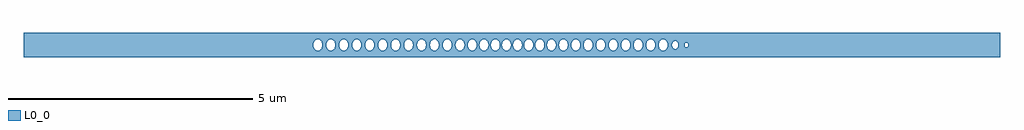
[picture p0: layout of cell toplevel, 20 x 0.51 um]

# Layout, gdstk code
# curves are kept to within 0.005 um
import gdstk
lib = gdstk.Library(unit=1e-6, precision=1e-09)
def P(c, l, *ps):  # polygons
    for p in ps: c.add(gdstk.Polygon(p, *l))
L0_0 = (0, 0)

toplevel = lib.new_cell('toplevel')
P(toplevel, L0_0, [(-3.493,-0.253),(-3.493,-0.104),(-3.526,-0.064),(-3.541,-0.007),(-3.532,0.051),(-3.516,0.082),(-3.493,0.104),(-3.493,0.253),(-10,0.253),(-10,-0.007),(-4.072,-0.007),(-4.068,0.037),(-4.047,0.082),(-4.013,0.111),(-3.985,0.119),(-3.944,0.111),(-3.919,0.092),(-3.894,0.051),(-3.885,0),(-3.807,0),(-3.798,0.051),(-3.781,0.082),(-3.748,0.111),(-3.719,0.119),(-3.679,0.111),(-3.649,0.087),(-3.631,0.057),(-3.62,0.015),(-3.621,-0.022),(-3.637,-0.07),(-3.663,-0.101),(-3.707,-0.119),(-3.748,-0.111),(-3.773,-0.092),(-3.798,-0.051),(-3.807,0),(-3.885,0),(-3.894,-0.051),(-3.911,-0.082),(-3.944,-0.111),(-3.973,-0.119),(-4.013,-0.111),(-4.043,-0.087),(-4.066,-0.044),(-4.072,-0.007),(-10,-0.007),(-10,-0.253)],
  [(-3.009,0.015),(-2.985,0.082),(-2.951,0.111),(-2.899,0.117),(-2.852,0.087),(-2.852,0.253),(-3.493,0.253),(-3.493,0.104),(-3.442,0.119),(-3.397,0.101),(-3.363,0.051),(-3.355,-0.015),(-3.275,-0.015),(-3.273,0.03),(-3.258,0.07),(-3.232,0.101),(-3.188,0.119),(-3.148,0.111),(-3.122,0.092),(-3.097,0.051),(-3.089,0.015),(-3.091,-0.03),(-3.106,-0.07),(-3.132,-0.101),(-3.164,-0.117),(-3.199,-0.117),(-3.242,-0.092),(-3.267,-0.051),(-3.275,-0.015),(-3.355,-0.015),(-3.379,-0.082),(-3.413,-0.111),(-3.453,-0.119),(-3.493,-0.104),(-3.493,-0.253),(-2.852,-0.253),(-2.852,-0.087),(-2.882,-0.111),(-2.911,-0.119),(-2.934,-0.117),(-2.967,-0.101),(-3.001,-0.051)],
  [(-2.212,0.015),(-2.209,0.253),(-2.852,0.253),(-2.852,0.087),(-2.826,0.03),(-2.824,-0.015),(-2.744,-0.015),(-2.74,0.037),(-2.723,0.076),(-2.691,0.108),(-2.657,0.119),(-2.616,0.111),(-2.583,0.082),(-2.56,0.03),(-2.558,-0.007),(-2.479,-0.007),(-2.47,0.051),(-2.453,0.082),(-2.42,0.111),(-2.391,0.119),(-2.351,0.111),(-2.321,0.087),(-2.298,0.044),(-2.292,0.007),(-2.296,-0.037),(-2.317,-0.082),(-2.345,-0.108),(-2.379,-0.119),(-2.42,-0.111),(-2.445,-0.092),(-2.47,-0.051),(-2.479,-0.007),(-2.558,-0.007),(-2.566,-0.051),(-2.583,-0.082),(-2.616,-0.111),(-2.645,-0.119),(-2.685,-0.111),(-2.715,-0.087),(-2.733,-0.057),(-2.744,-0.015),(-2.824,-0.015),(-2.837,-0.064),(-2.852,-0.087),(-2.852,-0.253),(-2.209,-0.253)],
  [(-2.207,0.044),(-2.188,0.082),(-2.16,0.108),(-2.126,0.119),(-2.102,0.117),(-2.07,0.101),(-2.044,0.07),(-2.026,0),(-1.948,0),(-1.939,0.051),(-1.914,0.092),(-1.889,0.111),(-1.848,0.119),(-1.814,0.108),(-1.782,0.076),(-1.765,0.037),(-1.761,-0.015),(-1.772,-0.057),(-1.79,-0.087),(-1.814,-0.108),(-1.848,-0.119),(-1.889,-0.111),(-1.914,-0.092),(-1.939,-0.051),(-1.948,0),(-2.026,0),(-2.035,-0.051),(-2.052,-0.082),(-2.085,-0.111),(-2.114,-0.119),(-2.137,-0.117),(-2.17,-0.101),(-2.192,-0.076),(-2.209,-0.037),(-2.209,-0.253),(-1.612,-0.253),(-1.612,-0.115),(-1.639,-0.101),(-1.661,-0.076),(-1.676,-0.044),(-1.682,-0.007),(-1.668,0.064),(-1.639,0.101),(-1.612,0.115),(-1.612,0.253),(-2.209,0.253)],
  [(-1.594,0.119),(-1.554,0.111),(-1.52,0.082),(-1.498,0.03),(-1.495,-0.007),(-1.418,-0.007),(-1.409,0.051),(-1.384,0.092),(-1.342,0.117),(-1.301,0.115),(-1.274,0.101),(-1.252,0.076),(-1.234,0.03),(-1.231,-0.007),(-1.24,-0.051),(-1.256,-0.082),(-1.29,-0.111),(-1.319,-0.119),(-1.359,-0.111),(-1.393,-0.082),(-1.409,-0.051),(-1.418,-0.007),(-1.495,-0.007),(-1.504,-0.051),(-1.529,-0.092),(-1.571,-0.117),(-1.612,-0.115),(-1.612,-0.253),(-1.001,-0.253),(-1.001,-0.087),(-1.048,-0.117),(-1.1,-0.111),(-1.138,-0.076),(-1.159,-0.007),(-1.144,0.064),(-1.125,0.092),(-1.1,0.111),(-1.048,0.117),(-1.001,0.087),(-1.001,0.253),(-1.612,0.253),(-1.612,0.115)],
  [(-0.975,-0.03),(-1.001,-0.087),(-1.001,-0.253),(-0.428,-0.253),(-0.428,-0.044),(-0.434,-0.015),(-0.428,0.253),(-1.001,0.253),(-1.001,0.087),(-0.975,0.03),(-0.973,-0.015),(-0.908,-0.015),(-0.904,0.037),(-0.887,0.076),(-0.855,0.108),(-0.821,0.119),(-0.78,0.111),(-0.747,0.082),(-0.724,0.03),(-0.722,-0.007),(-0.667,-0.007),(-0.661,0.044),(-0.638,0.087),(-0.603,0.113),(-0.556,0.117),(-0.534,0.108),(-0.506,0.082),(-0.489,0.051),(-0.48,0.007),(-0.495,-0.064),(-0.514,-0.092),(-0.539,-0.111),(-0.58,-0.119),(-0.624,-0.101),(-0.653,-0.064),(-0.667,-0.007),(-0.722,-0.007),(-0.73,-0.051),(-0.747,-0.082),(-0.78,-0.111),(-0.809,-0.119),(-0.849,-0.111),(-0.879,-0.087),(-0.897,-0.057),(-0.908,-0.015),(-0.973,-0.015)],
  [(-0.423,0.057),(-0.405,0.087),(-0.381,0.108),(-0.347,0.119),(-0.323,0.117),(-0.291,0.101),(-0.265,0.07),(-0.247,0),(-0.207,0),(-0.198,0.051),(-0.173,0.092),(-0.148,0.111),(-0.101,0.118),(-0.073,0.108),(-0.041,0.076),(-0.024,0.037),(-0.02,-0.015),(-0.031,-0.057),(-0.049,-0.087),(-0.073,-0.108),(-0.107,-0.119),(-0.148,-0.111),(-0.173,-0.092),(-0.198,-0.051),(-0.207,0),(-0.247,0),(-0.265,-0.07),(-0.291,-0.101),(-0.323,-0.117),(-0.347,-0.119),(-0.381,-0.108),(-0.409,-0.082),(-0.428,-0.044),(-0.428,-0.253),(0.131,-0.253),(0.131,-0.117),(0.096,-0.117),(0.063,-0.101),(0.034,-0.064),(0.02,-0.015),(0.024,0.037),(0.049,0.087),(0.084,0.113),(0.131,0.117),(0.131,0.253),(-0.428,0.253),(-0.428,0.044)],
  [(0.131,0.253),(0.131,0.117),(0.163,0.101),(0.189,0.07),(0.204,0.03),(0.206,-0.007),(0.247,-0.007),(0.25,0.03),(0.272,0.082),(0.306,0.111),(0.335,0.119),(0.375,0.111),(0.409,0.082),(0.425,0.051),(0.434,0.007),(0.431,-0.03),(0.409,-0.082),(0.375,-0.111),(0.346,-0.119),(0.306,-0.111),(0.272,-0.082),(0.256,-0.051),(0.247,-0.007),(0.206,-0.007),(0.198,-0.051),(0.181,-0.082),(0.163,-0.101),(0.131,-0.117),(0.131,-0.253),(0.664,-0.253),(0.664,-0.022),(0.651,-0.064),(0.622,-0.101),(0.589,-0.117),(0.566,-0.119),(0.537,-0.111),(0.504,-0.082),(0.487,-0.051),(0.478,-0.007),(0.487,0.051),(0.504,0.082),(0.537,0.111),(0.566,0.119),(0.589,0.117),(0.622,0.101),(0.651,0.064),(0.664,0.022),(0.664,0.253)],
  [(0.664,-0.253),(1.246,-0.253),(1.246,-0.092),(1.221,-0.051),(1.212,-0.007),(1.221,0.051),(1.246,0.092),(1.246,0.253),(0.664,0.253),(0.665,-0.007),(0.716,-0.007),(0.719,0.03),(0.741,0.082),(0.775,0.111),(0.804,0.119),(0.844,0.111),(0.878,0.082),(0.9,0.03),(0.903,-0.007),(0.961,-0.007),(0.965,0.037),(0.986,0.082),(1.014,0.108),(1.048,0.119),(1.089,0.111),(1.114,0.092),(1.139,0.051),(1.148,0.007),(1.139,-0.051),(1.122,-0.082),(1.089,-0.111),(1.06,-0.119),(1.02,-0.111),(0.99,-0.087),(0.967,-0.044),(0.961,-0.007),(0.903,-0.007),(0.894,-0.051),(0.878,-0.082),(0.844,-0.111),(0.815,-0.119),(0.775,-0.111),(0.745,-0.087),(0.725,-0.051),(0.716,-0.007),(0.665,-0.007)],
  [(1.255,0.101),(1.3,0.119),(1.34,0.111),(1.378,0.076),(1.396,0.03),(1.399,-0.007),(1.467,-0.007),(1.476,0.051),(1.501,0.092),(1.543,0.117),(1.578,0.117),(1.611,0.101),(1.633,0.076),(1.65,0.037),(1.654,-0.007),(1.648,-0.044),(1.629,-0.082),(1.601,-0.108),(1.578,-0.117),(1.543,-0.117),(1.501,-0.092),(1.476,-0.051),(1.467,-0.007),(1.399,-0.007),(1.378,-0.076),(1.34,-0.111),(1.288,-0.117),(1.246,-0.092),(1.246,-0.253),(1.867,-0.253),(1.867,-0.101),(1.823,-0.119),(1.777,-0.108),(1.741,-0.07),(1.724,-0.015),(1.732,0.051),(1.767,0.101),(1.811,0.119),(1.835,0.117),(1.867,0.101),(1.867,0.253),(1.246,0.253),(1.246,0.092)],
  [(2.492,0),(2.493,0.253),(1.867,0.253),(1.867,0.101),(1.902,0.051),(1.91,-0.007),(1.98,-0.007),(1.984,0.037),(2.005,0.082),(2.033,0.108),(2.067,0.119),(2.108,0.111),(2.141,0.082),(2.158,0.051),(2.167,-0.007),(2.236,-0.007),(2.239,0.03),(2.261,0.082),(2.295,0.111),(2.324,0.119),(2.364,0.111),(2.394,0.087),(2.414,0.051),(2.423,0.007),(2.42,-0.03),(2.398,-0.082),(2.364,-0.111),(2.335,-0.119),(2.295,-0.111),(2.261,-0.082),(2.245,-0.051),(2.236,-0.007),(2.167,-0.007),(2.158,-0.051),(2.141,-0.082),(2.108,-0.111),(2.079,-0.119),(2.039,-0.111),(2.009,-0.087),(1.986,-0.044),(1.98,-0.007),(1.91,-0.007),(1.902,-0.051),(1.867,-0.101),(1.867,-0.253),(2.493,-0.253)],
  [(3.005,0.015),(3.013,0.051),(3.038,0.092),(3.063,0.111),(3.104,0.119),(3.104,0.253),(2.493,0.253),(2.493,0.015),(2.501,0.051),(2.526,0.092),(2.551,0.111),(2.592,0.119),(2.626,0.108),(2.658,0.076),(2.675,0.037),(2.679,-0.015),(2.749,-0.015),(2.753,0.037),(2.774,0.082),(2.802,0.108),(2.848,0.119),(2.882,0.108),(2.91,0.082),(2.927,0.051),(2.936,0),(2.927,-0.051),(2.91,-0.082),(2.882,-0.108),(2.848,-0.119),(2.808,-0.111),(2.782,-0.092),(2.757,-0.051),(2.749,-0.015),(2.679,-0.015),(2.665,-0.064),(2.636,-0.101),(2.603,-0.117),(2.568,-0.117),(2.546,-0.108),(2.518,-0.082),(2.493,-0.016),(2.493,-0.253),(3.104,-0.253),(3.104,-0.119),(3.063,-0.111),(3.03,-0.082),(3.007,-0.03)],
  [(3.19,-0.022),(3.162,-0.087),(3.138,-0.108),(3.104,-0.119),(3.104,-0.253),(10,-0.253),(10,0.253),(3.104,0.253),(3.104,0.119),(3.138,0.108),(3.166,0.082),(3.187,0.037),(3.191,-0.011),(3.277,-0.011),(3.281,0.032),(3.292,0.055),(3.319,0.08),(3.344,0.086),(3.369,0.08),(3.393,0.059),(3.408,0.026),(3.411,-0.003),(3.534,-0.003),(3.545,0.036),(3.57,0.052),(3.595,0.046),(3.615,0.013),(3.61,-0.028),(3.58,-0.052),(3.563,-0.05),(3.545,-0.036),(3.534,-0.003),(3.411,-0.003),(3.393,-0.059),(3.369,-0.08),(3.344,-0.086),(3.319,-0.08),(3.301,-0.066),(3.277,-0.011),(3.191,-0.011)])

lib.write_gds('toplevel.gds')
